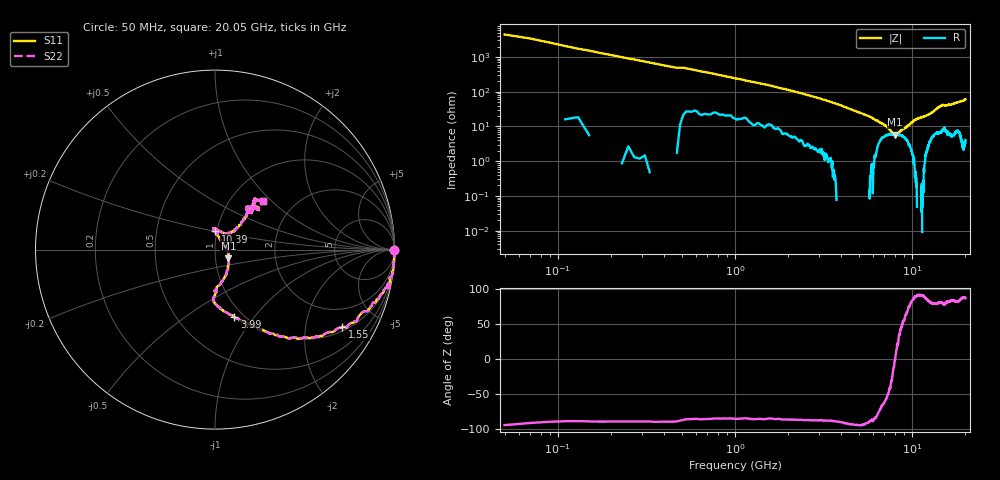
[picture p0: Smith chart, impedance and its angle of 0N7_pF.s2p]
! 500R07S0R7BV4
! Data taken April 11, 2003
! Data taken on a HP 8720C VNA using a series-through test fixture and TRL* de-embedding
#	mhz	s	ma	r	50
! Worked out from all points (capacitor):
!   1001 points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, 50 MHz to 20.05 GHz, reference 50 ohm
!   read as one part in series: C = 701 fF near 150 MHz
!   lowest |Z| = 5.76 ohm at 8.05 GHz (marker M1)
!   series resonance near 8.055 GHz, so ESL is about 560 pH
!   S11 on the Smith chart (normalised r, x): 50 MHz: open; 1.55 GHz: 1.14, -3.18; 3.99 GHz: 0.90, -0.80; 10.39 GHz: 0.98, +0.20; 20.05 GHz: 1.40, +0.88
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50  1 -0.1  0.0225 95.0  0.0225 95.0  1 -0.1
230  1 -5.7  0.1016 84.3  0.1016 84.3  1 -5.7
430  0.9917 -11.6  0.1863 78.6  0.1863 78.6  0.9917 -11.6
930  0.9287 -18.5  0.3537 66.7  0.3537 66.7  0.9287 -18.5
1550  0.8306 -31.4  0.5414 53.7  0.5414 53.7  0.8306 -31.4
2390  0.6607 -47.9  0.7304 39.3  0.7304 39.3  0.6607 -47.9
3390  0.4758 -63.8  0.8562 26.3  0.8562 26.3  0.4758 -63.8
3990  0.392 -74.0  0.8968 20.3  0.8968 20.3  0.392 -74.0
5110  0.2897 -91.4  0.9321 11.4  0.9321 11.4  0.2897 -91.4
6730  0.1739 -74.7  0.9379 2.3  0.9379 2.3  0.1739 -74.7
8050  0.08942 -32.9  0.9671 -2.7  0.9671 -2.7  0.08942 -32.9
9470  0.05553 40.3  0.9656 -8.5  0.9656 -8.5  0.05553 40.3
9650  0.05619 52.1  0.97 -9.3  0.97 -9.3  0.05619 52.1
10050  0.07776 78.2  0.9673 -10.4  0.9673 -10.4  0.07776 78.2
10390  0.101 89.8  0.9662 -12.0  0.9662 -12.0  0.101 89.8
11110  0.1205 93.5  0.9646 -13.8  0.9646 -13.8  0.1205 93.5
12390  0.1046 60.7  0.9558 -19.1  0.9558 -19.1  0.1046 60.7
13390  0.1711 45.3  0.9446 -22.3  0.9446 -22.3  0.1711 45.3
14210  0.2523 47.3  0.9307 -25.0  0.9307 -25.0  0.2523 47.3
14770  0.289 48.2  0.9111 -26.6  0.9111 -26.6  0.289 48.2
16730  0.2963 52.8  0.8957 -29.3  0.8957 -29.3  0.2963 52.8
20050  0.3791 45.5  0.8382 -43.0  0.8382 -43.0  0.3791 45.5
